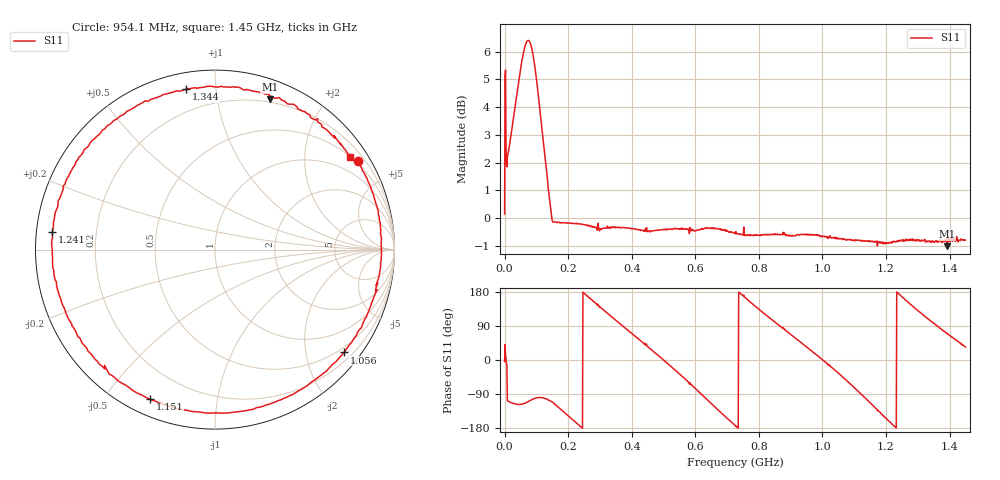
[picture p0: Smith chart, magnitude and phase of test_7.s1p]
! Created with skrf 1.11.0 (http://scikit-rf.org).
# Hz S RI R 50.0
!freq ReS11 ImS11
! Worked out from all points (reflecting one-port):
!   1001 points, 50 kHz to 1.45 GHz, reference 50 ohm
!   lowest |S11| = -1.0 dB at 1.392 GHz (marker M1), VSWR 17.27, Z = 8.75 + j70.7 ohm
!   phase of S11 starts at -4 deg and turns -1041 deg over the sweep
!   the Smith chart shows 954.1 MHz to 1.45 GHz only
!   S11 on the Smith chart (normalised r, x): 954.1 MHz: 0.43, +3.47; 1.056 GHz: 0.38, -2.81; 1.151 GHz: 0.07, -0.65; 1.241 GHz: 0.05, +0.05; 1.344 GHz: 0.08, +0.83; 1.45 GHz: 0.51, +3.16
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50000  1.015 -0.0744
1.599945e7  -0.4771 -1.275
5.079825e7  -0.848 -1.662
7.54474e7  -0.6902 -1.972
1.17496e8  -0.2404 -1.43
1.812938e8  -0.6744 -0.7134
2.62491e8  -0.9481 0.2139
3.625375e8  -0.1032 0.9561
4.103858e8  0.4342 0.8515
4.65484e8  0.8638 0.3925
5.437812e8  0.8134 -0.5059
5.887297e8  0.4008 -0.8675
6.322282e8  -0.177 -0.9416
6.815265e8  -0.7258 -0.622
7.25025e8  -0.9338 -0.1269
8.221716e8  -0.4515 0.8173
9.062688e8  0.4153 0.8313
9.541171e8  0.7963 0.4926
1.006315e9  0.9258 -0.0589
1.055614e9  0.7186 -0.573
1.087512e9  0.4221 -0.8113
1.15131e9  -0.3624 -0.8339
1.196259e9  -0.7906 -0.4307
1.241207e9  -0.9067 0.0986
1.268756e9  -0.8137 0.4117
1.344154e9  -0.161 0.8935
1.392002e9  0.305 0.8367
1.45e9  0.7536 0.5162
